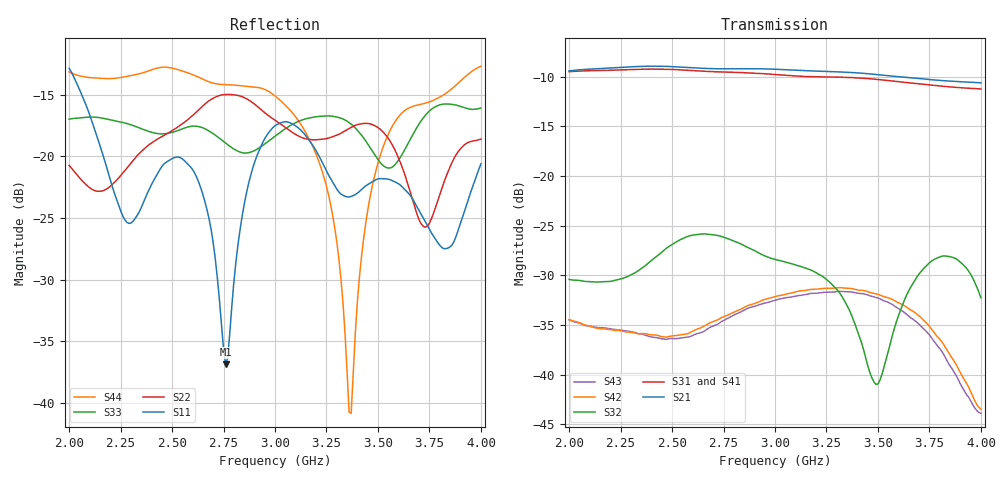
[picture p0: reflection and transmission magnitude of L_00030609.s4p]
!Agilent Technologies,N5224A,MY51441093,A.09.90.21
!Agilent N5224A: A.09.90.21
!Date: Friday, December 19, 2025 16:35:49
!Correction: S11(Full 4 Port(1,2,3,4))
!S12(Full 4 Port(1,2,3,4))
!S13(Full 4 Port(1,2,3,4))
!S14(Full 4 Port(1,2,3,4))
!S21(Full 4 Port(1,2,3,4))
!S22(Full 4 Port(1,2,3,4))
!S23(Full 4 Port(1,2,3,4))
!S24(Full 4 Port(1,2,3,4))
!S31(Full 4 Port(1,2,3,4))
!S32(Full 4 Port(1,2,3,4))
!S33(Full 4 Port(1,2,3,4))
!S34(Full 4 Port(1,2,3,4))
!S41(Full 4 Port(1,2,3,4))
!S42(Full 4 Port(1,2,3,4))
!S43(Full 4 Port(1,2,3,4))
!S44(Full 4 Port(1,2,3,4))
!S4P File: Measurements: <S11,S12,S13,S14>,
!<S21,S22,S23,S24>,
!<S31,S32,S33,S34>,
!<S41,S42,S43,S44>:
# Hz S  dB  R 50
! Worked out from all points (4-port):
!   201 points, 2 GHz to 4 GHz, reference 50 ohm
!   strongest paths, dB at 2 GHz, 2.5 GHz, 3 GHz, 3.5 GHz, 4 GHz:
!     S21: -9.4, -9.0, -9.2, -9.8, -10.6
!     S31: -9.5, -9.3, -9.8, -10.3, -11.2
!     S41: -9.1, -9.2, -9.9, -10.4, -11.6
!     S32: -30.4, -26.9, -28.4, -40.9, -32.3
!     S42: -34.4, -36.1, -32.2, -31.9, -43.5
!     S43: -34.5, -36.4, -32.5, -32.3, -43.9
!   lowest |S11| = -36.9 dB at 2.76 GHz (marker M1), VSWR 1.03, Z = 48.9 + j0.917 ohm
!   |S11| at or under -10 dB: start of sweep to end of sweep
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2e9  -12.87 -49.5  -9.40 -75.7  -9.44 -144.2  -9.26 143.1
     -9.41 -75.8  -20.74 104.7  -30.37 -47.7  -34.58 -103.3
     -9.50 -144.1  -30.42 -47.4  -16.99 -30.4  -34.68 -172.7
     -9.15 143.3  -34.45 -103.0  -34.49 -172.6  -13.16 -65.0
2.38e9  -23.00 -42.1  -8.94 87.4  -9.17 21.7  -9.28 -46.3
        -8.94 87.3  -19.18 -97.2  -28.79 55.0  -36.03 -121.4
        -9.24 21.7  -28.86 55.1  -17.94 -143.4  -36.30 174.2
        -9.15 -46.2  -35.91 -121.2  -36.10 174.3  -13.12 -142.9
2.76e9  -36.87 139.2  -9.18 -104.3  -9.46 -170.4  -9.63 124.8
        -9.20 -104.4  -15.00 171.7  -26.17 170.7  -34.19 -83.4
        -9.53 -170.3  -26.23 170.9  -18.93 147.2  -34.63 -149.4
        -9.53 124.9  -34.09 -83.1  -34.46 -149.4  -14.20 137.4
2.97e9  -18.07 -26.2  -9.20 150.9  -9.65 84.4  -9.93 21.0
        -9.22 150.8  -16.73 128.5  -28.14 59.8  -32.42 97.4
        -9.73 84.6  -28.21 60.1  -18.76 135.5  -32.87 30.8
        -9.84 21.2  -32.32 97.7  -32.71 30.8  -14.75 93.3
3.37e9  -23.26 -94.4  -9.56 -47.3  -10.00 -114.3  -10.17 -179.1
        -9.57 -47.3  -17.66 98.8  -33.86 -139.3  -31.40 106.5
        -10.08 -114.0  -33.93 -138.9  -17.40 71.1  -31.82 40.1
        -10.11 -178.9  -31.33 106.7  -31.67 40.0  -40.84 98.9
3.53e9  -21.83 -111.9  -9.85 -126.4  -10.26 165.4  -10.49 99.7
        -9.86 -126.4  -18.13 67.9  -39.14 -139.3  -32.20 -34.7
        -10.34 165.7  -39.21 -139.0  -20.82 62.7  -32.70 -101.6
        -10.44 100.0  -32.16 -34.5  -32.57 -101.7  -19.03 112.1
4e9  -20.62 20.7  -10.59 4.6  -11.14 -66.5  -11.65 -136.6
     -10.62 4.8  -18.62 78.1  -32.20 -27.1  -43.51 -149.5
     -11.23 -65.9  -32.26 -26.6  -16.09 26.9  -43.98 136.3
     -11.62 -135.9  -43.48 -149.1  -43.90 136.5  -12.70 19.2
